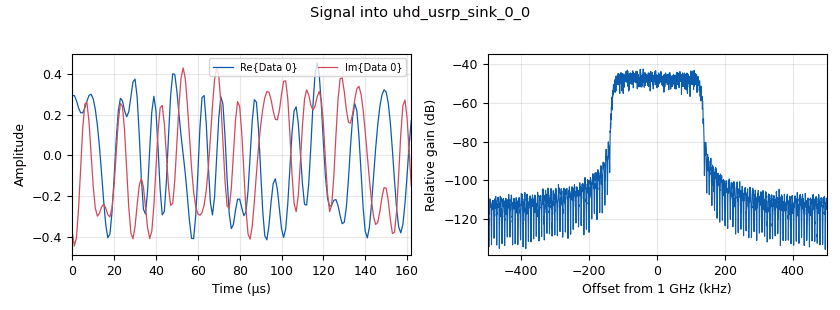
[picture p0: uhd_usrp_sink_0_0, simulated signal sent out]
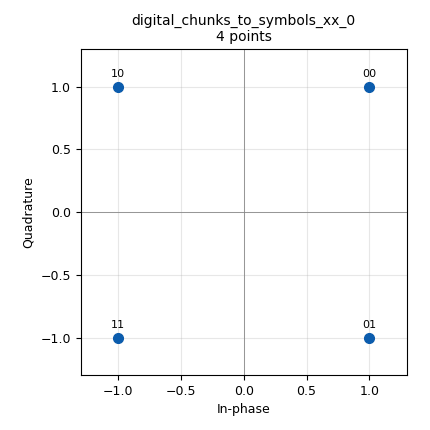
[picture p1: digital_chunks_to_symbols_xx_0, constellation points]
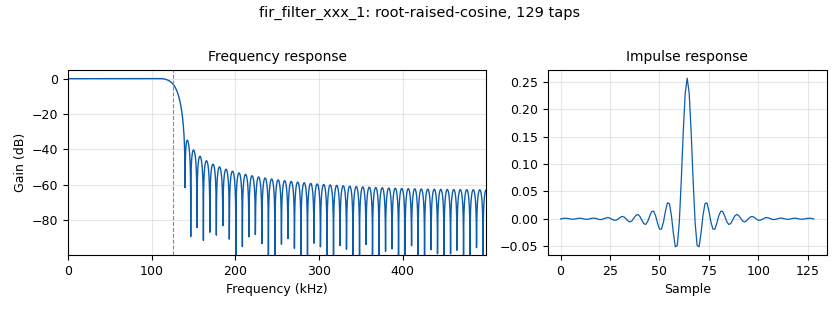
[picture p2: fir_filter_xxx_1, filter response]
options:
  parameters:
    generate_options: qt_gui
    id: QPSK_USRP
    output_language: python
    title: QPSK_USRP
  states: {}

blocks:
- name: delay
  id: variable_qtgui_range
  parameters:
    start: '0'
    step: '1'
    stop: '100'
    value: '16'
  states: {}
- name: excess_bw
  id: variable
  parameters:
    value: '0.1'
  states: {}
- name: phase_bw
  id: variable
  parameters:
    value: '62.8e-3'
  states: {}
- name: qpsk
  id: variable_constellation_rect
  parameters:
    const_points: sym_map
    imag_sect: '2'
    real_sect: '2'
    rot_sym: '4'
    sym_map: '[0, 1, 2, 3]'
    w_imag_sect: '1'
    w_real_sect: '1'
  states: {}
- name: rrc_taps
  id: variable
  parameters:
    value: firdes.root_raised_cosine(1.0,samp_rate,samp_rate/sps,excess_bw,128)
  states: {}
- name: samp_rate
  id: variable
  parameters:
    value: 1e6
  states: {}
- name: sps
  id: variable
  parameters:
    value: '4'
  states: {}
- name: sym_map
  id: variable
  parameters:
    value: '[1+1j,1-1j,-1+1j,-1-1j]'
  states: {}
- name: variable_adaptive_algorithm_0
  id: variable_adaptive_algorithm
  parameters:
    cons: qpsk
    modulus: '4'
    step_size: '.0001'
    type: cma
  states: {}
- name: analog_random_source_x_0
  id: analog_random_source_x
  parameters:
    max: '4'
    min: '0'
    num_samps: '100000'
    repeat: 'True'
    type: byte
  states: {}
- name: blocks_char_to_float_1
  id: blocks_char_to_float
  parameters:
    scale: '1'
  states: {state: disabled}
- name: blocks_char_to_float_2
  id: blocks_char_to_float
  parameters:
    scale: '1'
  states: {}
- name: blocks_delay_0
  id: blocks_delay
  parameters:
    delay: delay
    type: complex
  states: {}
- name: blocks_delay_1
  id: blocks_delay
  parameters:
    delay: delay
    type: float
  states: {state: disabled}
- name: blocks_delay_2
  id: blocks_delay
  parameters:
    delay: '0'
    type: complex
  states: {state: disabled}
- name: blocks_delay_2_0
  id: blocks_delay
  parameters:
    delay: '3'
    type: complex
  states: {state: disabled}
- name: blocks_delay_2_1
  id: blocks_delay
  parameters:
    delay: '2'
    type: complex
  states: {state: disabled}
- name: blocks_delay_2_2
  id: blocks_delay
  parameters:
    delay: '1'
    type: complex
  states: {state: disabled}
- name: blocks_float_to_int_0
  id: blocks_float_to_int
  parameters:
    scale: '1'
  states: {}
- name: blocks_throttle2_0_0
  id: blocks_throttle2
  parameters:
    samples_per_second: samp_rate/4
    type: complex
  states: {}
- name: digital_chunks_to_symbols_xx_0
  id: digital_chunks_to_symbols_xx
  parameters:
    dimension: '1'
    in_type: int
    out_type: complex
    symbol_table: sym_map
  states: {}
- name: digital_constellation_decoder_cb_0
  id: digital_constellation_decoder_cb
  parameters:
    constellation: qpsk
  states: {state: disabled}
- name: digital_costas_loop_cc_0
  id: digital_costas_loop_cc
  parameters:
    order: '4'
    w: phase_bw
  states: {}
- name: digital_linear_equalizer_0_0
  id: digital_linear_equalizer
  parameters:
    alg: variable_adaptive_algorithm_0
    num_taps: '15'
    sps: '4'
  states: {}
- name: digital_symbol_sync_xx_0
  id: digital_symbol_sync_xx
  parameters:
    constellation: digital.constellation_qpsk().base()
    damping: '1.0'
    loop_bw: '0.045'
    max_dev: '1.5'
    osps: '4'
    resamp_type: digital.IR_MMSE_8TAP
    sps: sps
    ted_gain: '1'
    ted_type: digital.TED_MUELLER_AND_MULLER
    type: cc
  states: {}
- name: fir_filter_xxx_1
  id: fir_filter_xxx
  parameters:
    decim: '1'
    taps: rrc_taps
    type: ccc
  states: {}
- name: interp_fir_filter_xxx_0
  id: interp_fir_filter_xxx
  parameters:
    interp: '4'
    taps: '[1,0,0,0]'
    type: ccc
  states: {}
- name: qtgui_const_sink_x_0
  id: qtgui_const_sink_x
  parameters:
    grid: 'True'
    gui_hint: 0,1,1,1
    nconnections: '2'
    size: '1024'
    type: complex
  states: {}
- name: qtgui_eye_sink_x_0
  id: qtgui_eye_sink_x
  parameters:
    color2: red
    grid: 'True'
    gui_hint: 0,0,1,1
    label1: Real Delay 0
    label2: Imag Delay 0
    samp_per_symbol: sps
    size: '1024'
    srate: samp_rate
    type: complex
    ymax: '3'
    ymin: '-3'
  states: {state: disabled}
- name: qtgui_eye_sink_x_0_0
  id: qtgui_eye_sink_x
  parameters:
    color2: red
    grid: 'True'
    gui_hint: 0,1,1,1
    label1: Real Delay 1
    label2: Imag Delay 1
    samp_per_symbol: sps
    size: '1024'
    srate: samp_rate
    type: complex
    ymax: '3'
    ymin: '-3'
  states: {state: disabled}
- name: qtgui_eye_sink_x_0_1
  id: qtgui_eye_sink_x
  parameters:
    color2: red
    grid: 'True'
    gui_hint: 1,0,1,1
    label1: Real Delay 2
    label2: Imag Delay 2
    samp_per_symbol: sps
    size: '1024'
    srate: samp_rate
    type: complex
    ymax: '3'
    ymin: '-3'
  states: {state: disabled}
- name: qtgui_eye_sink_x_0_2
  id: qtgui_eye_sink_x
  parameters:
    color2: red
    grid: 'True'
    gui_hint: 1,1,1,1
    label1: Real Delay 3
    label2: Imag Delay 3
    samp_per_symbol: sps
    size: '1024'
    srate: samp_rate
    type: complex
    ymax: '3'
    ymin: '-3'
  states: {state: disabled}
- name: qtgui_time_sink_x_1
  id: qtgui_time_sink_x
  parameters:
    gui_hint: 0,0,1,1
    nconnections: '2'
    size: '1024'
    srate: samp_rate
    type: complex
  states: {state: disabled}
- name: qtgui_time_sink_x_2
  id: qtgui_time_sink_x
  parameters:
    gui_hint: 1,0,1,1
    nconnections: '2'
    size: '1024'
    srate: samp_rate
    type: float
    ymax: '3'
  states: {state: disabled}
- name: uhd_usrp_sink_0_0
  id: uhd_usrp_sink
  parameters:
    ant0: '"TX/RX"'
    bw0: samp_rate
    center_freq0: 1e9
    dev_addr: addr=192.168.10.2
    gain0: '10'
    samp_rate: samp_rate
    sd_spec0: A:0
    sync: pc_clock_next_pps
    type: fc32
  states: {}
- name: uhd_usrp_source_1
  id: uhd_usrp_source
  parameters:
    ant0: '"RX2"'
    bw0: samp_rate
    center_freq0: 1e9
    dev_addr: addr=192.168.10.2
    gain0: '10'
    samp_rate: samp_rate
    sd_spec0: B:0
    sync: none
    type: fc32
  states: {}
- name: virtual_sink_0
  id: virtual_sink
  parameters:
    stream_id: send_symbol
  states: {}
- name: virtual_sink_0_0
  id: virtual_sink
  parameters:
    stream_id: receive_symbol
  states: {}
- name: virtual_sink_1
  id: virtual_sink
  parameters:
    stream_id: send_float
  states: {state: disabled}
- name: virtual_sink_2
  id: virtual_sink
  parameters:
    stream_id: receive_float
  states: {state: disabled}
- name: virtual_source_0
  id: virtual_source
  parameters:
    stream_id: send_symbol
  states: {}
- name: virtual_source_0_0
  id: virtual_source
  parameters:
    stream_id: receive_symbol
  states: {}
- name: virtual_source_0_0_1_0
  id: virtual_source
  parameters:
    stream_id: receive_symbol
  states: {state: disabled}
- name: virtual_source_1
  id: virtual_source
  parameters:
    stream_id: send_float
  states: {state: disabled}
- name: virtual_source_1_0
  id: virtual_source
  parameters:
    stream_id: receive_float
  states: {state: disabled}

connections:
- [analog_random_source_x_0, '0', blocks_char_to_float_2, '0']
- [blocks_char_to_float_1, '0', virtual_sink_2, '0']
- [blocks_char_to_float_2, '0', blocks_float_to_int_0, '0']
- [blocks_char_to_float_2, '0', virtual_sink_1, '0']
- [blocks_delay_0, '0', qtgui_const_sink_x_0, '0']
- [blocks_delay_0, '0', qtgui_time_sink_x_1, '0']
- [blocks_delay_1, '0', qtgui_time_sink_x_2, '0']
- [blocks_delay_2, '0', qtgui_eye_sink_x_0, '0']
- [blocks_delay_2_0, '0', qtgui_eye_sink_x_0_2, '0']
- [blocks_delay_2_1, '0', qtgui_eye_sink_x_0_1, '0']
- [blocks_delay_2_2, '0', qtgui_eye_sink_x_0_0, '0']
- [blocks_float_to_int_0, '0', digital_chunks_to_symbols_xx_0, '0']
- [blocks_throttle2_0_0, '0', interp_fir_filter_xxx_0, '0']
- [blocks_throttle2_0_0, '0', virtual_sink_0, '0']
- [digital_chunks_to_symbols_xx_0, '0', blocks_throttle2_0_0, '0']
- [digital_constellation_decoder_cb_0, '0', blocks_char_to_float_1, '0']
- [digital_costas_loop_cc_0, '0', digital_constellation_decoder_cb_0, '0']
- [digital_costas_loop_cc_0, '0', virtual_sink_0_0, '0']
- [digital_linear_equalizer_0_0, '0', digital_costas_loop_cc_0, '0']
- [digital_symbol_sync_xx_0, '0', digital_linear_equalizer_0_0, '0']
- [fir_filter_xxx_1, '0', uhd_usrp_sink_0_0, '0']
- [interp_fir_filter_xxx_0, '0', fir_filter_xxx_1, '0']
- [uhd_usrp_source_1, '0', digital_symbol_sync_xx_0, '0']
- [virtual_source_0, '0', blocks_delay_0, '0']
- [virtual_source_0_0, '0', qtgui_const_sink_x_0, '1']
- [virtual_source_0_0, '0', qtgui_time_sink_x_1, '1']
- [virtual_source_0_0_1_0, '0', blocks_delay_2, '0']
- [virtual_source_0_0_1_0, '0', blocks_delay_2_0, '0']
- [virtual_source_0_0_1_0, '0', blocks_delay_2_1, '0']
- [virtual_source_0_0_1_0, '0', blocks_delay_2_2, '0']
- [virtual_source_1, '0', blocks_delay_1, '0']
- [virtual_source_1_0, '0', qtgui_time_sink_x_2, '1']

metadata:
  file_format: 1
  grc_version: 3.10.10.0
